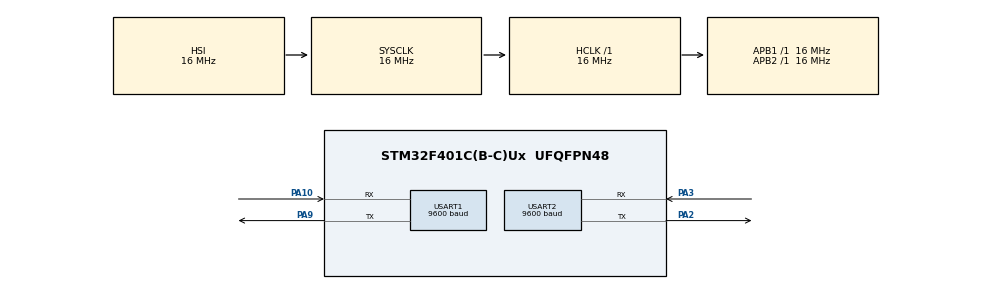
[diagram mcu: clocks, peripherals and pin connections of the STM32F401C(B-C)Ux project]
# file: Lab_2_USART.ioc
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Mcu.Family=STM32F4
Mcu.Name=STM32F401C(B-C)Ux
Mcu.Package=UFQFPN48
NVIC.PriorityGroup=NVIC_PRIORITYGROUP_4
NVIC.USART1_IRQn=true\:5\:0\:true\:false\:true\:true\:true\:true
NVIC.USART2_IRQn=true\:6\:0\:true\:false\:true\:true\:true\:true
PA10.Mode=Asynchronous
PA10.Signal=USART1_RX
PA13.Signal=SYS_JTMS-SWDIO
PA2.Mode=Asynchronous
PA2.Signal=USART2_TX
PA3.Mode=Asynchronous
PA3.Signal=USART2_RX
PA9.Mode=Asynchronous
PA9.Signal=USART1_TX
ProjectManager.HeapSize=0x200
ProjectManager.StackSize=0x400
ProjectManager.TargetToolchain=STM32CubeIDE
RCC.AHBFreq_Value=16000000
RCC.APB1Freq_Value=16000000
RCC.APB2Freq_Value=16000000
RCC.CortexFreq_Value=16000000
RCC.HSE_VALUE=25000000
RCC.HSI_VALUE=16000000
RCC.LSE_VALUE=32768
RCC.SYSCLKFreq_VALUE=16000000
RCC.VCOOutputFreq_Value=192000000
USART1.BaudRate=9600
USART1.VirtualMode=VM_ASYNC
USART2.BaudRate=9600
USART2.VirtualMode=VM_ASYNC
board=custom

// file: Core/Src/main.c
/* USER CODE BEGIN Header */
/**
  ******************************************************************************
  * @file           : main.c
  * @brief          : Main program body
  ******************************************************************************
  * @attention
  *
  * Copyright (c) 2023 STMicroelectronics.
  * All rights reserved.
  *
  * This software is licensed under terms that can be found in the LICENSE file
  * in the root directory of this software component.
  * If no LICENSE file comes with this software, it is provided AS-IS.
  *
  ******************************************************************************
  */
  /* USER CODE END Header */
  /* Includes ------------------------------------------------------------------*/
#include "main.h"

/* USER CODE BEGIN Includes */
#include "ringbuffer.h"
/* USER CODE END Includes */

/* USER CODE BEGIN PD */
#define RING_BUFFER_CODE
/* USER CODE END PD */

UART_HandleTypeDef huart1;
UART_HandleTypeDef huart2;

/* USER CODE BEGIN PV */
uint8_t rx1[1] = { '\0' };
uint8_t tx1[1] = { '\0' };
RingBuffer txBuf;

uint8_t rx2[10] = { '\0' };
uint8_t tx2[10] = { '\0' };
RingBuffer uart2_txBuf;

uint8_t transferData[3] = { 0 };
int data_index = 0;
/* USER CODE END PV */

void SystemClock_Config(void);
static void MX_GPIO_Init(void);
static void MX_USART1_UART_Init(void);
static void MX_USART2_UART_Init(void);

int main(void)
{

	/* MCU Configuration--------------------------------------------------------*/

	/* Reset of all peripherals, Initializes the Flash interface and the Systick. */
	HAL_Init();

	/* Configure the system clock */
	SystemClock_Config();

	/* Initialize all configured peripherals */
	MX_GPIO_Init();
	MX_USART1_UART_Init();
	MX_USART2_UART_Init();

	/* Infinite loop */

	HAL_UART_Receive_IT(&huart1, rx1, sizeof(rx1));
	HAL_Delay(2);
	HAL_UART_Receive_IT(&huart2, rx2, sizeof(rx2));

	// RING BUFFER CODE

#ifdef RING_BUFFER_CODE
	uint8_t msg[] = "Working...\n\r";

	HAL_UART_Transmit(&huart1, msg, sizeof(msg), 1000);

#endif

	while (1)
	{
#ifdef RING_BUFFER_CODE
		//
#endif
//
	/* USER CODE END WHILE */

	/* USER CODE BEGIN 3 */

		HAL_Delay(200);
		if (huart1.RxState == HAL_UART_STATE_READY) {
			HAL_UART_Receive_IT(&huart1, rx1, sizeof(rx1));
		}
		HAL_Delay(200);
		if (huart2.RxState == HAL_UART_STATE_READY) {
			HAL_UART_Receive_IT(&huart2, rx2, sizeof(rx2));
		}

	}
	/* USER CODE END 3 */
}

void SystemClock_Config(void)
{
	RCC_OscInitTypeDef RCC_OscInitStruct = { 0 };
	RCC_ClkInitTypeDef RCC_ClkInitStruct = { 0 };

	/** Configure the main internal regulator output voltage
	*/
	__HAL_RCC_PWR_CLK_ENABLE();
	__HAL_PWR_VOLTAGESCALING_CONFIG(PWR_REGULATOR_VOLTAGE_SCALE2);

	/** Initializes the RCC Oscillators according to the specified parameters
	* in the RCC_OscInitTypeDef structure.
	*/
	RCC_OscInitStruct.OscillatorType = RCC_OSCILLATORTYPE_HSI;
	RCC_OscInitStruct.HSIState = RCC_HSI_ON;
	RCC_OscInitStruct.HSICalibrationValue = RCC_HSICALIBRATION_DEFAULT;
	RCC_OscInitStruct.PLL.PLLState = RCC_PLL_NONE;
	if (HAL_RCC_OscConfig(&RCC_OscInitStruct) != HAL_OK)
	{
		Error_Handler();
	}

	/** Initializes the CPU, AHB and APB buses clocks
	*/
	RCC_ClkInitStruct.ClockType = RCC_CLOCKTYPE_HCLK | RCC_CLOCKTYPE_SYSCLK
		| RCC_CLOCKTYPE_PCLK1 | RCC_CLOCKTYPE_PCLK2;
	RCC_ClkInitStruct.SYSCLKSource = RCC_SYSCLKSOURCE_HSI;
	RCC_ClkInitStruct.AHBCLKDivider = RCC_SYSCLK_DIV1;
	RCC_ClkInitStruct.APB1CLKDivider = RCC_HCLK_DIV1;
	RCC_ClkInitStruct.APB2CLKDivider = RCC_HCLK_DIV1;

	if (HAL_RCC_ClockConfig(&RCC_ClkInitStruct, FLASH_LATENCY_0) != HAL_OK)
	{
		Error_Handler();
	}
}

static void MX_USART1_UART_Init(void)
{

	huart1.Instance = USART1;
	huart1.Init.BaudRate = 9600;
	huart1.Init.WordLength = UART_WORDLENGTH_8B;
	huart1.Init.StopBits = UART_STOPBITS_1;
	huart1.Init.Parity = UART_PARITY_NONE;
	huart1.Init.Mode = UART_MODE_TX_RX;
	huart1.Init.HwFlowCtl = UART_HWCONTROL_NONE;
	huart1.Init.OverSampling = UART_OVERSAMPLING_16;
	if (HAL_UART_Init(&huart1) != HAL_OK)
	{
		Error_Handler();
	}

}

static void MX_USART2_UART_Init(void)
{

	huart2.Instance = USART2;
	huart2.Init.BaudRate = 9600;
	huart2.Init.WordLength = UART_WORDLENGTH_8B;
	huart2.Init.StopBits = UART_STOPBITS_1;
	huart2.Init.Parity = UART_PARITY_NONE;
	huart2.Init.Mode = UART_MODE_TX_RX;
	huart2.Init.HwFlowCtl = UART_HWCONTROL_NONE;
	huart2.Init.OverSampling = UART_OVERSAMPLING_16;
	if (HAL_UART_Init(&huart2) != HAL_OK)
	{
		Error_Handler();
	}

}

static void MX_GPIO_Init(void)
{

	  /* GPIO Ports Clock Enable */
	__HAL_RCC_GPIOA_CLK_ENABLE();

}

/* USER CODE BEGIN 4 */
void HAL_UART_TxCpltCallback(UART_HandleTypeDef* huart) {
	if (huart == &huart1) {
		tx1[0] = '\0';

		if (RingBuffer_GetDataLength(&txBuf) > 0) {
			RingBuffer_Read(&txBuf, tx1, 1);
			HAL_UART_Transmit_IT(huart, tx1, 1);
		}
	}

	if (huart == &huart2) {
		tx2[0] = '\0';

		if (RingBuffer_GetDataLength(&uart2_txBuf) > 0) {
			RingBuffer_Read(&uart2_txBuf, tx2, sizeof(tx2));
			HAL_UART_Transmit_IT(huart, tx2, sizeof(tx2));
		}
	}

}

void HAL_UART_RxCpltCallback(UART_HandleTypeDef* huart) {
	if (huart == &huart1) {
		tx1[0] = rx1[0];

#ifdef RING_BUFFER_CODE

		if (HAL_UART_Transmit_IT(&huart2, tx1, sizeof(tx1)) != HAL_OK) {
			if (RingBuffer_Write(&txBuf, tx1, sizeof(tx1)) != RING_BUFFER_OK) {
				;
			}
		}

#endif

		HAL_UART_Transmit_IT(&huart1, tx1, sizeof(tx1));
		HAL_UART_Receive_IT(&huart1, rx1, sizeof(rx1));
	}

	if (huart == &huart2) {
		for (int loop = 0; loop < 10; loop++) {
			tx2[loop] = rx2[loop];
		}

		if (HAL_UART_Transmit_IT(&huart1, (uint8_t*)".", sizeof(".")) != HAL_OK) {
			HAL_UART_Transmit(&huart1, (uint8_t*)"error huart1\n\r", sizeof("error huart1\n\r"), HAL_MAX_DELAY);
			if (RingBuffer_Write(&uart2_txBuf, tx2, sizeof(tx2)) != RING_BUFFER_OK) {
				;
			}
		}
		HAL_UART_Receive_IT(&huart2, rx2, sizeof(rx2));
	}
}
/* USER CODE END 4 */

void Error_Handler(void)
{
	__disable_irq();
	while (1)
	{
	}
}
